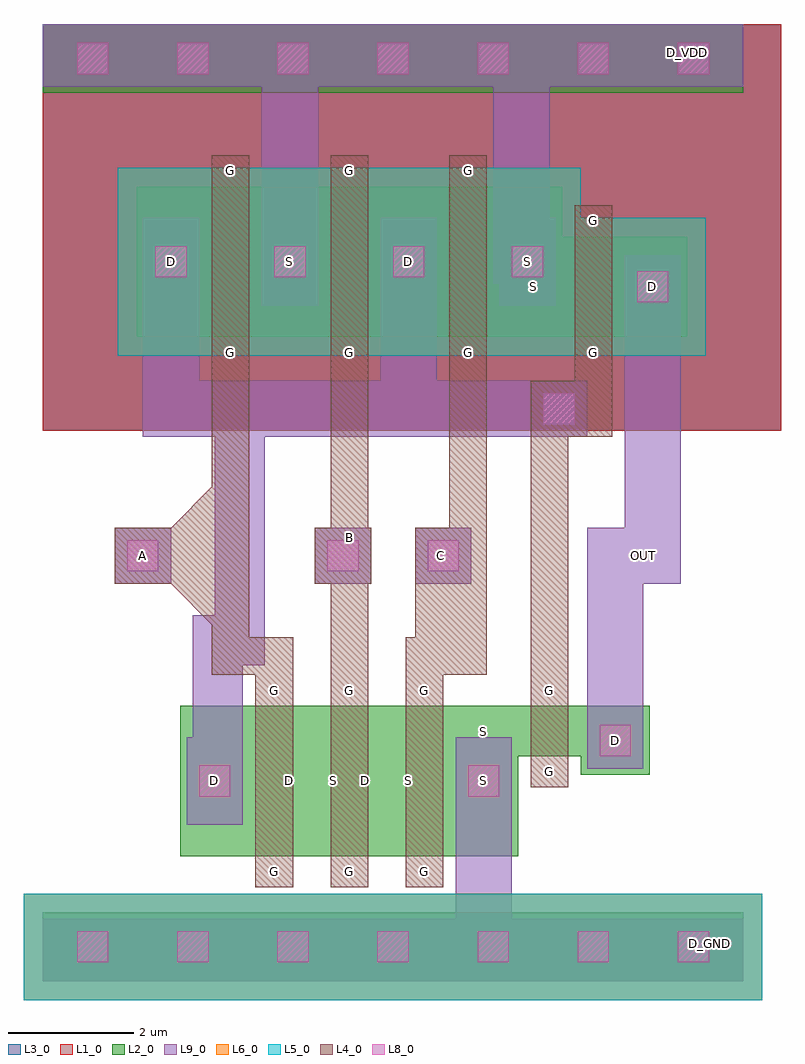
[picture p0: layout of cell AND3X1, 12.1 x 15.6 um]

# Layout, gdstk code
import gdstk
lib = gdstk.Library(unit=1e-6, precision=1e-09)
def R(c, l, rs):  # rectangles x0, y0, x1, y1
    for r in rs: c.add(gdstk.rectangle(r[:2], r[2:], *l))
def A(c, l, x, y, w, h, nx, ny, dx, dy):  # array of equal rectangles
    R(c, l, [(x+i*dx, y+j*dy, x+i*dx+w, y+j*dy+h) for i in range(nx) for j in range(ny)])
def P(c, l, *ps):  # polygons
    for p in ps: c.add(gdstk.Polygon(p, *l))
L1_0 = (1, 0)
L2_0 = (2, 0)
L3_0 = (3, 0)
L4_0 = (4, 0)
L5_0 = (5, 0)
L6_0 = (6, 0)
L8_0 = (8, 0)
L9_0 = (9, 0)

and3x1 = lib.new_cell('AND3X1')
A(and3x1, L1_0, 0, 8.8, 6, 5.4, 3, 1, 1.9, 0)
A(and3x1, L1_0, 0, 8.8, 1.6, 6.5, 7, 1, 1.6, 0)
R(and3x1, L1_0, [(5.8,8.8,11.8,13.4), (11.2,13.4,11.8,15.3)])
A(and3x1, L2_0, 0, 0, 1.6, 1.1, 7, 2, 1.6, 14.2)
A(and3x1, L2_0, 3.3, 2, 0.8, 2.4, 3, 1, 1.2, 0)
A(and3x1, L2_0, 2.6, 10.3, 0.8, 2.4, 3, 1, 1.9, 0)
R(and3x1, L2_0, [(2.2,2,3.3,4.4), (3.4,2,4.5,4.4), (4.1,2,5.2,4.4), (4.6,2,5.7,4.4), (5.3,2,6.4,4.4), (6.5,2,7.6,4.4), (6.5,2.2,7.6,4.2), (8.6,3.3,9.7,4.4), (6.5,3.6,7.6,4.4), (7.6,3.6,8.6,4.4), (1.5,10.3,2.6,12.7), (3.4,10.3,4.5,12.7), (3.4,10.3,4.5,12.7), (5.3,10.3,6.4,12.7), (5.3,10.3,6.4,12.7), (7.2,10.3,8.3,12.7), (7.3,10.3,8.4,11.9), (8.4,10.3,9.2,11.9), (9.2,10.3,10.3,11.9), (7.2,10.7,8.3,12.3)])
A(and3x1, L3_0, 0, 8.8, 6, 5.4, 3, 1, 1.9, 0)
A(and3x1, L3_0, 0, 8.8, 1.6, 6.5, 7, 1, 1.6, 0)
R(and3x1, L3_0, [(5.8,8.8,11.8,13.4), (11.2,13.4,11.8,15.3)])
A(and3x1, L4_0, 3.4, 1.5, 0.6, 3.4, 3, 1, 1.2, 0)
A(and3x1, L4_0, 3.4, 1.5, 0.6, 0.5, 3, 2, 1.2, 2.9)
A(and3x1, L4_0, 2.7, 9.8, 0.6, 3.4, 3, 1, 1.9, 0)
A(and3x1, L4_0, 2.7, 9.8, 0.6, 0.5, 3, 2, 1.9, 2.9)
R(and3x1, L4_0, [(7.8,3.1,8.4,3.6), (7.8,3.1,8.4,4.9), (7.8,4.4,8.4,4.9), (4.6,4.9,5.2,9.8), (5.95,5.5,6.5,6.35), (1.15,6.35,2.05,7.25), (1.15,6.35,3.25,7.25), (4.35,6.35,5.25,7.25), (5.95,6.35,6.85,7.25), (7.8,8.7,8.7,9.6), (8.5,9.8,9.1,10.3), (8.5,9.8,9.1,12.4), (8.5,11.9,9.1,12.4)])
P(and3x1, L4_0, [(5.8,4.9),(7.1,4.9),(7.1,9.8),(6.5,9.8),(6.5,5.5),(5.8,5.5)],
  [(7.8,4.9),(8.4,4.9),(8.4,8.7),(9.1,8.7),(9.1,9.85),(8.5,9.85),(8.5,9.3),(7.8,9.3)],
  [(2.7,4.9),(4,4.9),(4,5.5),(3.3,5.5),(3.3,9.8),(2.7,9.8)],
  [(2.05,6.35),(2.7,5.7),(2.7,6.35)],
  [(2.7,7.9),(2.05,7.25),(2.7,7.25)])
A(and3x1, L5_0, 1.6, -0.3, 1.6, 1.7, 5, 1, 1.6, 0)
A(and3x1, L5_0, 1.2, 10, 3.6, 3, 3, 1, 1.9, 0)
R(and3x1, L5_0, [(-0.3,-0.3,1.6,1.4), (9.6,-0.3,11.5,1.4), (7,10,10.6,12.2)])
A(and3x1, L6_0, 1.6, -0.3, 1.6, 1.7, 5, 1, 1.6, 0)
A(and3x1, L6_0, 1.2, 10, 3.6, 3, 3, 1, 1.9, 0)
R(and3x1, L6_0, [(-0.3,-0.3,1.6,1.4), (9.6,-0.3,11.5,1.4), (7,10,10.6,12.2)])
A(and3x1, L8_0, 0.55, 0.3, 0.5, 0.5, 7, 2, 1.6, 14.2)
R(and3x1, L8_0, [(2.5,2.95,3,3.45), (6.8,2.95,7.3,3.45), (8.9,3.6,9.4,4.1), (1.35,6.55,1.85,7.05), (4.55,6.55,5.05,7.05), (6.15,6.55,6.65,7.05), (8,8.9,8.5,9.4), (9.5,10.85,10,11.35), (1.8,11.25,2.3,11.75), (3.7,11.25,4.2,11.75), (3.7,11.25,4.2,11.75), (5.6,11.25,6.1,11.75), (5.6,11.25,6.1,11.75), (7.5,11.25,8,11.75)])
A(and3x1, L9_0, 0, 0, 1.6, 1, 7, 2, 1.6, 14.3)
R(and3x1, L9_0, [(10.2,0.1,11.1,1), (6.6,1,7.5,2.5), (2.3,2.5,3.2,3.9), (6.6,2.5,7.5,3.9), (8.7,3.4,9.6,4.3), (8.7,4.3,9.6,7.25), (1.15,6.35,2.05,7.25), (1.15,6.35,2.05,7.25), (4.35,6.35,5.25,7.25), (4.35,6.35,5.25,7.25), (5.95,6.35,6.85,7.25), (5.95,6.35,6.85,7.25), (9.15,6.35,10.05,7.25), (9.3,6.35,10.2,10.65), (5.4,8.7,6.3,11.75), (5.4,8.7,8.7,9.6), (7.8,8.7,8.7,9.6), (1.6,9.5,2.5,10.8), (9.3,10.6,10.2,11.6), (1.6,10.8,2.5,12.2), (3.5,10.8,4.4,12.2), (3.5,10.8,4.4,12.2), (5.4,10.8,6.3,12.2), (5.4,10.8,6.3,12.2), (7.3,10.8,8.2,12.2), (3.5,11.05,4.4,14.35), (3.7,11.1,4.15,12.3), (7.2,11.15,8.1,14.45), (9.8,14.4,10.7,15.3)])
P(and3x1, L9_0, [(2.4,3.1),(3.2,3.1),(3.2,5.05),(3.55,5.05),(3.55,9.55),(2.75,9.55),(2.75,5.85),(2.4,5.85)],
  [(1.6,8.7),(6.3,8.7),(6.3,9.6),(2.5,9.6),(2.5,10.4),(1.6,10.4)])
and3x1.add(gdstk.Label('D', (3.951,3.201), layer=2, texttype=0))
and3x1.add(gdstk.Label('G', (4.9,1.752), layer=4, texttype=0))
and3x1.add(gdstk.Label('G', (4.9,4.652), layer=4, texttype=0))
and3x1.add(gdstk.Label('S', (5.851,3.201), layer=2, texttype=0))
and3x1.add(gdstk.Label('G', (4.9,10.052), layer=4, texttype=0))
and3x1.add(gdstk.Label('G', (4.9,12.952), layer=4, texttype=0))
and3x1.add(gdstk.Label('S', (3.949,11.501), layer=9, texttype=0))
and3x1.add(gdstk.Label('D', (5.849,11.501), layer=9, texttype=0))
and3x1.add(gdstk.Label('G', (8.8,10.052), layer=4, texttype=0))
and3x1.add(gdstk.Label('G', (8.8,12.152), layer=4, texttype=0))
and3x1.add(gdstk.Label('S', (7.849,11.101), layer=2, texttype=0))
and3x1.add(gdstk.Label('D', (9.749,11.101), layer=9, texttype=0))
and3x1.add(gdstk.Label('G', (3.7,1.752), layer=4, texttype=0))
and3x1.add(gdstk.Label('G', (3.7,4.652), layer=4, texttype=0))
and3x1.add(gdstk.Label('S', (4.651,3.201), layer=2, texttype=0))
and3x1.add(gdstk.Label('D', (2.751,3.201), layer=9, texttype=0))
and3x1.add(gdstk.Label('G', (8.1,4.648), layer=4, texttype=0))
and3x1.add(gdstk.Label('G', (8.1,3.348), layer=4, texttype=0))
and3x1.add(gdstk.Label('S', (7.049,3.999), layer=2, texttype=0))
and3x1.add(gdstk.Label('D', (9.149,3.849), layer=9, texttype=0))
and3x1.add(gdstk.Label('G', (6.8,10.052), layer=4, texttype=0))
and3x1.add(gdstk.Label('G', (6.8,12.952), layer=4, texttype=0))
and3x1.add(gdstk.Label('S', (7.751,11.501), layer=9, texttype=0))
and3x1.add(gdstk.Label('D', (5.851,11.501), layer=9, texttype=0))
and3x1.add(gdstk.Label('D', (5.151,3.201), layer=2, texttype=0))
and3x1.add(gdstk.Label('G', (6.1,1.752), layer=4, texttype=0))
and3x1.add(gdstk.Label('G', (6.1,4.652), layer=4, texttype=0))
and3x1.add(gdstk.Label('S', (7.051,3.201), layer=9, texttype=0))
and3x1.add(gdstk.Label('G', (3,10.052), layer=4, texttype=0))
and3x1.add(gdstk.Label('G', (3,12.952), layer=4, texttype=0))
and3x1.add(gdstk.Label('S', (3.951,11.501), layer=9, texttype=0))
and3x1.add(gdstk.Label('D', (2.051,11.501), layer=9, texttype=0))
and3x1.add(gdstk.Label('OUT', (9.6,6.8), layer=50, texttype=0))
and3x1.add(gdstk.Label('B', (4.9,7.1), layer=50, texttype=0))
and3x1.add(gdstk.Label('C', (6.35,6.8), layer=50, texttype=0))
and3x1.add(gdstk.Label('D_GND', (10.65,0.6), layer=50, texttype=0))
and3x1.add(gdstk.Label('D_VDD', (10.3,14.85), layer=50, texttype=0))
and3x1.add(gdstk.Label('A', (1.6,6.8), layer=50, texttype=0))

lib.write_gds('AND3X1.gds')
